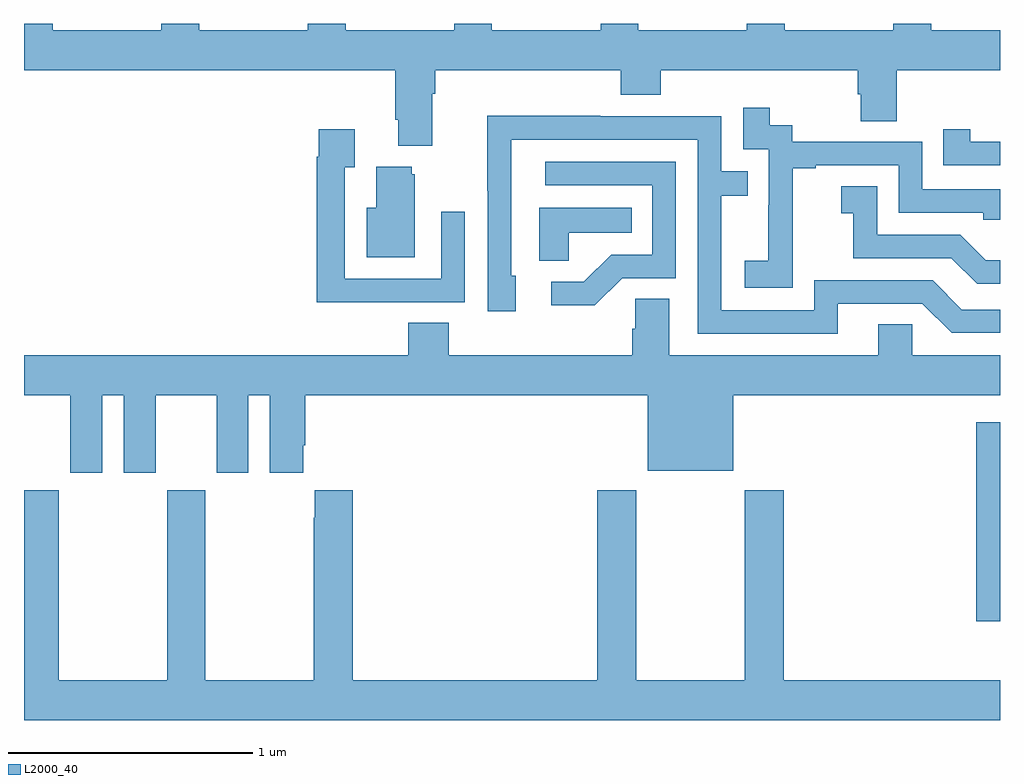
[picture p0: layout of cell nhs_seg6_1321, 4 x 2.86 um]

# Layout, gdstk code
import gdstk
lib = gdstk.Library(unit=1e-6, precision=1e-09)
def R(c, l, rs):  # rectangles x0, y0, x1, y1
    for r in rs: c.add(gdstk.rectangle(r[:2], r[2:], *l))
def P(c, l, *ps):  # polygons
    for p in ps: c.add(gdstk.Polygon(p, *l))
L2000_40 = (2000, 40)

nhs_seg6_1321 = lib.new_cell('nhs_seg6_1321')
R(nhs_seg6_1321, L2000_40, [(194.902,973.05,195,973.867)])
P(nhs_seg6_1321, L2000_40, [(193.445,975.209),(193.61,975.209),(193.61,975.308),(194.417,975.308),(194.417,975.21),(194.429,975.21),(194.429,975.1),(194.577,975.1),(194.577,975.308),(195,975.308),(195,975.472),(194.718,975.472),(194.718,975.5),(194.563,975.5),(194.563,975.472),(194.118,975.472),(194.118,975.5),(193.963,975.5),(193.963,975.472),(193.518,975.472),(193.518,975.5),(193.363,975.5),(193.363,975.472),(192.918,975.472),(192.918,975.5),(192.763,975.5),(192.763,975.472),(192.318,975.472),(192.318,975.5),(192.163,975.5),(192.163,975.472),(191.718,975.472),(191.718,975.5),(191.563,975.5),(191.563,975.472),(191.118,975.472),(191.118,975.5),(191,975.5),(191,975.308),(192.521,975.308),(192.521,975.106),(192.533,975.106),(192.533,974.999),(192.673,974.999),(192.673,975.212),(192.686,975.212),(192.686,975.308),(193.445,975.308)],
  [(194.151,974.623),(194.15,974.623),(194.15,974.907),(194.245,974.907),(194.245,974.919),(194.586,974.919),(194.586,974.724),(194.931,974.724),(194.931,974.697),(195,974.697),(195,974.82),(194.682,974.82),(194.682,975.015),(194.148,975.015),(194.148,975.084),(194.056,975.084),(194.056,975.154),(193.947,975.154),(193.947,974.985),(194.052,974.985),(194.052,974.756),(194.051,974.756),(194.051,974.527),(193.953,974.527),(193.953,974.417),(194.151,974.417)],
  [(194.335,974.352),(194.682,974.352),(194.802,974.232),(195,974.232),(195,974.328),(194.844,974.328),(194.724,974.448),(194.238,974.448),(194.238,974.325),(193.857,974.325),(193.857,974.794),(193.967,974.794),(193.967,974.895),(193.857,974.895),(193.857,975.12),(193.361,975.12),(193.361,975.122),(192.898,975.122),(192.898,974.815),(192.9,974.815),(192.9,974.322),(193.015,974.322),(193.015,974.466),(192.996,974.466),(192.996,975.024),(193.761,975.024),(193.761,974.229),(194.335,974.229)],
  [(192.491,974.358),(192.807,974.358),(192.807,974.728),(192.711,974.728),(192.711,974.454),(192.315,974.454),(192.315,974.911),(192.355,974.911),(192.355,975.067),(192.207,975.067),(192.207,974.954),(192.199,974.954),(192.199,974.357),(192.491,974.357)],
  [(195,975.015),(194.878,975.015),(194.878,975.067),(194.767,975.067),(194.767,974.919),(195,974.919)],
  [(193.452,974.457),(193.671,974.457),(193.671,974.934),(193.137,974.934),(193.137,974.838),(193.575,974.838),(193.575,974.553),(193.406,974.553),(193.295,974.442),(193.161,974.442),(193.161,974.345),(193.339,974.345)],
  [(192.601,974.883),(192.59,974.883),(192.59,974.914),(192.443,974.914),(192.443,974.746),(192.404,974.746),(192.404,974.543),(192.601,974.543)],
  [(195,974.53),(194.942,974.53),(194.838,974.634),(194.496,974.634),(194.496,974.833),(194.349,974.833),(194.349,974.723),(194.398,974.723),(194.398,974.538),(194.801,974.538),(194.906,974.433),(195,974.433)],
  [(193.233,974.642),(193.49,974.642),(193.49,974.746),(193.112,974.746),(193.112,974.527),(193.233,974.527)],
  [(191.32,973.976),(191.408,973.976),(191.408,973.659),(191.539,973.659),(191.539,973.976),(191.789,973.976),(191.789,973.659),(191.92,973.659),(191.92,973.976),(192.008,973.976),(192.008,973.659),(192.145,973.659),(192.145,973.771),(192.152,973.771),(192.152,973.976),(193.556,973.976),(193.556,973.667),(193.906,973.667),(193.906,973.976),(195,973.976),(195,974.14),(194.64,974.14),(194.64,974.267),(194.501,974.267),(194.501,974.14),(193.645,974.14),(193.645,974.372),(193.506,974.372),(193.506,974.249),(193.493,974.249),(193.493,974.14),(192.74,974.14),(192.74,974.273),(192.575,974.273),(192.575,974.14),(191,974.14),(191,973.976),(191.189,973.976),(191.189,973.659),(191.32,973.659)],
  [(195,972.808),(194.114,972.808),(194.114,973.588),(193.954,973.588),(193.954,972.808),(193.509,972.808),(193.509,973.588),(193.349,973.588),(193.349,972.808),(192.347,972.808),(192.347,973.588),(192.191,973.588),(192.191,973.475),(192.187,973.475),(192.187,972.808),(191.742,972.808),(191.742,973.588),(191.587,973.588),(191.587,972.808),(191.142,972.808),(191.142,973.588),(191,973.588),(191,972.644),(195,972.644)])

lib.write_gds('nhs_seg6_1321.gds')
